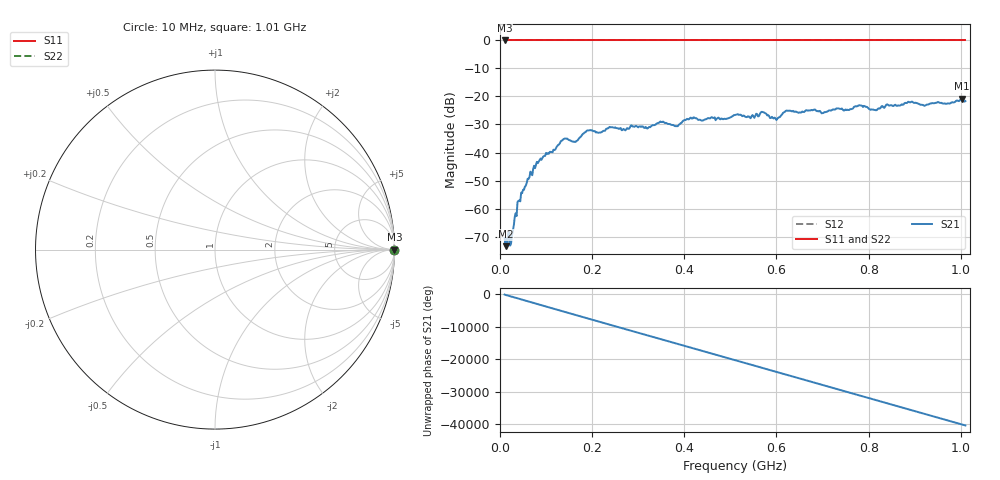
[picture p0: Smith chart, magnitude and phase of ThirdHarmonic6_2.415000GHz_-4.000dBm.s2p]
! 8/17/2025 4:04:35 AM
! C:\ANRITSUVNA\TEMP\TEMP.S2P
! CHANNEL.1
! TR.MEASUREMENT
! RAW.DATA
! RF.CORRECTION.OFF
! AVERAGING.OFF
! IF.BANDWIDTH: 5KHZ
! SWEEPTYPE:  FREQ.SWEEP(Linear)
! Reference Plane Port Info
! PORT:  PORT1  PORT2
! DISTANCE:  0  m  0  m
! TIME:  0  s  0  s
! PHASE.OFFSET:  0  deg.  0  deg.
! LOSS:  0  dB  0  dB
! REF.LOSS:  0  dB  0  dB
! REF.FREQ:  0  Hz  0  Hz
! Power Info
! POWER:  -20  dBm  -20  dBm
! EFF.POWER:  -20  dBm  -20  dBm
! SOURCE.ATTEN:  0  dB  0  dB
! TEST.ATTEN:  0  dB  0  dB
# GHZ S RI R 50.0
! FREQ.GHZ  S11RE  S11IM  S21RE  S21IM  S12RE  S12IM  S22RE  S22IM
!; PortSelection: Port_12
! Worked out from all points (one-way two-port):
!   501 points, 10 MHz to 1.01 GHz, reference 50 ohm
!   highest |S21| = -20.74 dB at 1.002 GHz (marker M1); lowest = -73.4 dB at 12 MHz (marker M2)
!   lowest |S11| = 0.0 dB at 10 MHz (marker M3)
!   |S11| at or under -10 dB: nowhere
!   |S22| runs from 0.0 to 0.0 dB; largest |S21 - S12| = 1.1
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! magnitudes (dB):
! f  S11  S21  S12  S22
! 10 MHz  0.0  -70.5  0.0  0.0
! 12 MHz  0.0  -73.4  0.0  0.0
! 26 MHz  0.0  -69.5  0.0  0.0
! 42 MHz  0.0  -57.1  0.0  0.0
! 76 MHz  0.0  -45.6  0.0  0.0
! 136 MHz  0.0  -35.5  0.0  0.0
! 164 MHz  0.0  -36.2  0.0  0.0
! 178 MHz  0.0  -33.7  0.0  0.0
! 344 MHz  0.0  -29.4  0.0  0.0
! 382 MHz  0.0  -30.6  0.0  0.0
! 416 MHz  0.0  -27.9  0.0  0.0
! 510 MHz  0.0  -26.6  0.0  0.0
! 570 MHz  0.0  -25.5  0.0  0.0
! 598 MHz  0.0  -27.8  0.0  0.0
! 624 MHz  0.0  -25.1  0.0  0.0
! 678 MHz  0.0  -24.9  0.0  0.0
! 702 MHz  0.0  -25.9  0.0  0.0
! 782 MHz  0.0  -23.2  0.0  0.0
! 814 MHz  0.0  -24.8  0.0  0.0
! 844 MHz  0.0  -23.2  0.0  0.0
! 1.002 GHz  0.0  -20.7  0.0  0.0
! 1.01 GHz  0.0  -21.6  0.0  0.0
